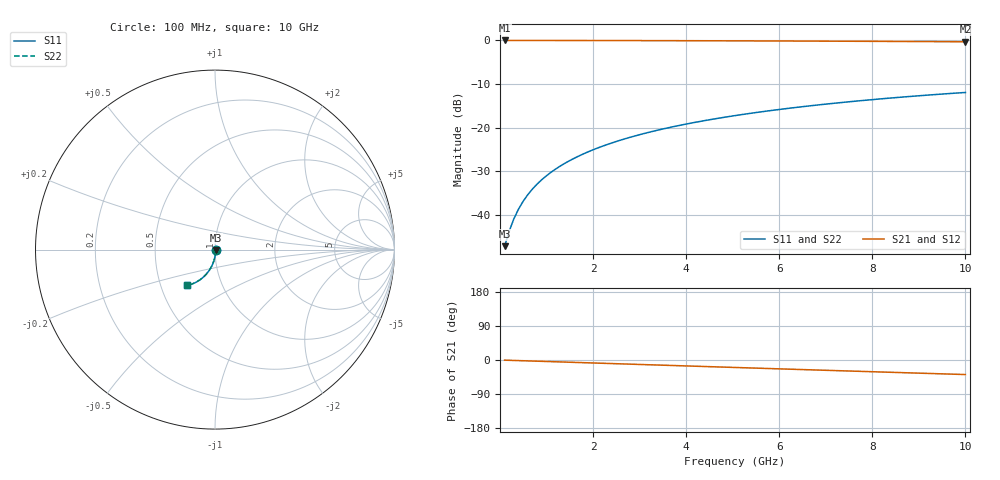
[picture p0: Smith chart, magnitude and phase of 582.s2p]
# Hz S RI R 50.00
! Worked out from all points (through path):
!   100 points, 100 MHz to 10 GHz, reference 50 ohm
!   highest |S21| = -0.03 dB at 100 MHz (marker M1); lowest = -0.3 dB at 10 GHz (marker M2)
!   group delay of S21, straight-line fit = 10.7 ps
!   lowest |S11| = -47.2 dB at 100 MHz (marker M3), VSWR 1.01, Z = 50.3 - j0.282 ohm
!   |S11| at or under -10 dB: start of sweep to end of sweep
!   |S22| runs from -47.2 to -12.0 dB; largest |S21 - S12| = 0
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1e8  0.00334 -0.00281  0.9966 -0.00682  0.9966 -0.00682  0.00334 -0.00281
2e8  0.0033 -0.00561  0.9965 -0.0136  0.9965 -0.0136  0.0033 -0.00561
3e8  0.00321 -0.00841  0.9963 -0.0205  0.9963 -0.0205  0.00321 -0.00841
4e8  0.00309 -0.0112  0.9961 -0.0273  0.9961 -0.0273  0.00309 -0.0112
5e8  0.00292 -0.014  0.9959 -0.0341  0.9959 -0.0341  0.00292 -0.014
6e8  0.00272 -0.0168  0.9956 -0.0409  0.9956 -0.0409  0.00272 -0.0168
7e8  0.00248 -0.0196  0.9952 -0.0477  0.9952 -0.0477  0.00248 -0.0196
9e8  0.00187 -0.0252  0.9943 -0.0613  0.9943 -0.0613  0.00187 -0.0252
1e9  0.00151 -0.028  0.9938 -0.0681  0.9938 -0.0681  0.00151 -0.028
1.2e9  0.00068 -0.0335  0.9925 -0.0817  0.9925 -0.0817  0.00068 -0.0335
1.5e9  -0.000853 -0.0418  0.9903 -0.102  0.9903 -0.102  -0.000853 -0.0418
1.8e9  -0.00272 -0.05  0.9876 -0.1223  0.9876 -0.1223  -0.00272 -0.05
2.1e9  -0.00492 -0.0581  0.9844 -0.1424  0.9844 -0.1424  -0.00492 -0.0581
2.5e9  -0.00837 -0.0687  0.9794 -0.1691  0.9794 -0.1691  -0.00837 -0.0687
2.9e9  -0.0124 -0.0791  0.9736 -0.1955  0.9736 -0.1955  -0.0124 -0.0791
3.4e9  -0.0182 -0.0918  0.9652 -0.2282  0.9652 -0.2282  -0.0182 -0.0918
4.2e9  -0.0291 -0.1111  0.9492 -0.2796  0.9492 -0.2796  -0.0291 -0.1111
5.1e9  -0.0438 -0.1311  0.9275 -0.3356  0.9275 -0.3356  -0.0438 -0.1311
5.9e9  -0.0587 -0.1473  0.9053 -0.3836  0.9053 -0.3836  -0.0587 -0.1473
6.7e9  -0.0751 -0.1617  0.8804 -0.4298  0.8804 -0.4298  -0.0751 -0.1617
8.4e9  -0.1141 -0.1858  0.8198 -0.5212  0.8198 -0.5212  -0.1141 -0.1858
1e10  -0.154 -0.1999  0.7546 -0.598  0.7546 -0.598  -0.154 -0.1999
